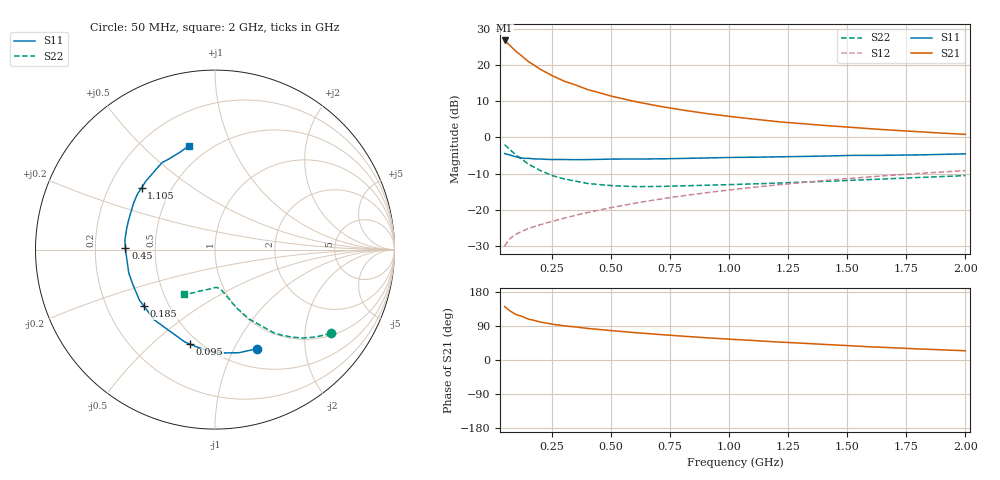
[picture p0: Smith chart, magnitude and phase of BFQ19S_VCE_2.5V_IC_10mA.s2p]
! Infineon Technologies  Discrete & RF Semiconductors
! BFQ19S
! VCE =  2.5 V,  IC =  10 mA
! Common Emitter S-Parameters:  Jan 2016
# GHz  S  MA  R  50
!  f  S11  S21  S12  S22
! GHz  MAG  ANG  MAG  ANG  MAG  ANG  MAG  ANG
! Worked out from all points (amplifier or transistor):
!   391 points, 50 MHz to 2 GHz, reference 50 ohm
!   highest |S21| = 26.7 dB at 50 MHz (marker M1)
!   |S21| within 3 dB of that: start of sweep to 98.24 MHz
!   unconditionally stable (mu >= 1): 489.1 MHz to 1.705 GHz
!   at 375 MHz: K = 0.93, MSG = 17.5 dB, |S12| = -21.1 dB
!   at 1.025 GHz: K = 1.06, MAG = 8.4 dB, |S12| = -14.3 dB
!   at 2 GHz: K = 0.96, MSG = 5.0 dB, |S12| = -9.1 dB
!   S11 on the Smith chart (normalised r, x): 50 MHz: 0.72, -1.24; 95 MHz: 0.45, -0.67; 185 MHz: 0.36, -0.31; 450 MHz: 0.33, +0.01; 1.105 GHz: 0.34, +0.33; 2 GHz: 0.39, +0.70
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0.05  0.6006 -66.8  21.68 141.1  0.0319 62.6  0.7965 -35.9
0.06  0.5896 -77.0  20.23 135.7  0.0359 59.4  0.7436 -40.9
0.07  0.577 -86.5  18.81 130.8  0.0395 57.1  0.6936 -45.2
0.08  0.5635 -94.6  17.5 126.5  0.0423 54.7  0.647 -48.9
0.095  0.5452 -104.7  15.71 121.3  0.0458 52.7  0.5852 -53.4
0.1  0.5419 -108.0  15.15 119.6  0.0469 52.3  0.5664 -54.8
0.15  0.5176 -130.9  11.14 107.9  0.0557 50.0  0.4301 -63.9
0.185  0.506 -141.6  9.423 103.0  0.0607 50.4  0.374 -67.4
0.2  0.5065 -146.2  8.714 100.3  0.0628 50.5  0.3505 -69.3
0.25  0.4975 -156.3  7.109 94.7  0.0698 51.9  0.3004 -73.1
0.3  0.4984 -164.3  6.006 90.3  0.077 53.4  0.2695 -75.7
0.375  0.4947 -173.2  4.929 85.4  0.0886 55.4  0.242 -78.9
0.4  0.4962 -176.2  4.581 83.2  0.0925 55.9  0.233 -80.1
0.45  0.4988 179.0  4.144 80.6  0.1003 56.8  0.2251 -81.8
0.5  0.5049 174.3  3.717 77.4  0.1081 57.6  0.2175 -83.7
0.6  0.5056 167.5  3.126 72.2  0.1242 58.3  0.2109 -87.2
0.7  0.5088 161.2  2.712 67.5  0.1407 58.8  0.2116 -90.4
1.03  0.5317 143.3  1.903 54.0  0.1944 57.6  0.226 -100.5
1.105  0.5349 139.8  1.791 51.4  0.2065 57.0  0.2299 -102.8
1.35  0.5501 128.7  1.513 43.0  0.247 54.8  0.2448 -109.7
1.675  0.569 114.4  1.271 32.8  0.2998 50.8  0.2702 -117.0
2  0.5956 104.3  1.104 24.3  0.3499 46.4  0.2992 -125.1
